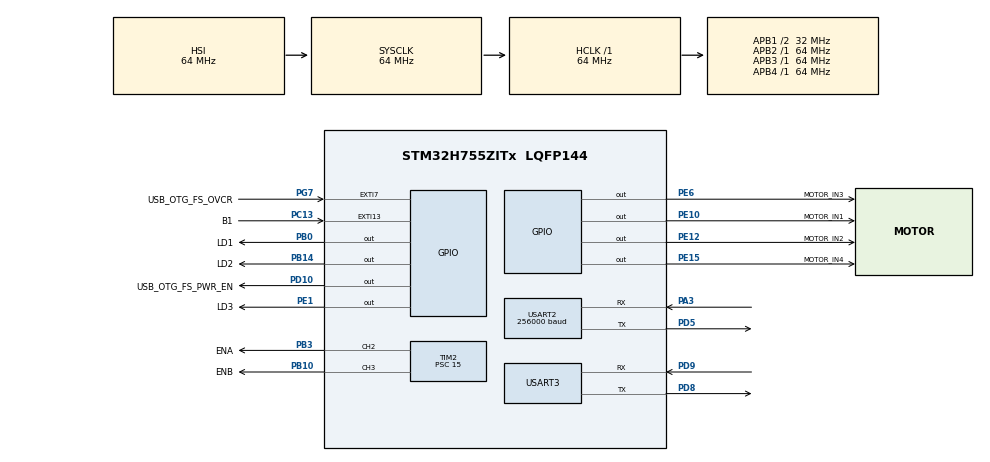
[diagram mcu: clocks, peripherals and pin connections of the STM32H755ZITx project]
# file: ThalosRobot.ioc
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CortexM4.IPs=FATFS_M4\:I,FREERTOS_M4\:I,IWDG2\:I,RCC,WWDG2\:I,DMA,BDMA,MDMA,NVIC2\:I,ETH,USART3,DEBUG,PDM2PCM_M4\:I,PWR,RESMGR_UTILITY,SYS_M4\:I,USB_DEVICE_M4\:I,USB_HOST_M4\:I,CORTEX_M4\:I,GPIO,OPENAMP_M4\:I,VREFBUF,NUCLEO-H755ZI-Q
CortexM7.IPs=FATFS_M7\:I,FREERTOS_M7\:I,IWDG1\:I,RCC\:I,WWDG1\:I,DMA\:I,BDMA\:I,MDMA\:I,NVIC1\:I,ETH\:I,USART3\:I,USB_OTG_FS\:I,USB_OTG_FS1\:I,SYS\:I,CORTEX_M7\:I,DEBUG\:I,PDM2PCM_M7\:I,PWR\:I,RESMGR_UTILITY\:I,USB_DEVICE_M7\:I,USB_HOST_M7\:I,GPIO\:I,OPENAMP_M7\:I,VREFBUF\:I,NUCLEO-H755ZI-Q\:I,TIM6\:I,TIM2\:I,USART2\:I
CortexM7.Pins=PE6,PC13,PB0,PE10,PE12,PE15,PB14,PE1
FREERTOS_M7.Mutexes01=telemetryMutex,Dynamic,NULL,Available
FREERTOS_M7.Queues01=trackingUARTQueue,100,uint8_t,0,Dynamic,NULL,NULL;trackingQueue,3,LDFrame_t,0,Dynamic,NULL,NULL
FREERTOS_M7.Tasks01=motionTask,24,128,StartMotionTask,Default,NULL,Dynamic,NULL,NULL;heartbeatTask,8,128,StartHeartbeathTask,Default,NULL,Dynamic,NULL,NULL;processTracking,25,128,StartProcessTrackingTask,Default,NULL,Dynamic,NULL,NULL;telemetryTask,8,512,StartTelemetryTask,Default,NULL,Dynamic,NULL,NULL
FREERTOS_M7.configUSE_NEWLIB_REENTRANT=1
Mcu.Family=STM32H7
Mcu.Name=STM32H755ZITx
Mcu.Package=LQFP144
NVIC1.EXTI15_10_IRQn=true\:5\:0\:true\:false\:true\:true\:true\:true\:true
NVIC1.PriorityGroup=NVIC_PRIORITYGROUP_4
NVIC1.TIM6_DAC_IRQn=true\:15\:0\:false\:false\:true\:false\:false\:true\:true
NVIC1.TimeBase=TIM6_DAC_IRQn
NVIC1.TimeBaseIP=TIM6
NVIC1.USART2_IRQn=true\:5\:0\:false\:false\:true\:true\:true\:true\:true
NVIC2.PriorityGroup=NVIC_PRIORITYGROUP_4
PA1.PinAttribute=CortexM7
PA1.Signal=ETH_REF_CLK
PA11.PinAttribute=CortexM7
PA11.Signal=USB_OTG_FS_DM
PA12.PinAttribute=CortexM7
PA12.Signal=USB_OTG_FS_DP
PA2.PinAttribute=CortexM7
PA2.Signal=ETH_MDIO
PA3.Mode=Asynchronous
PA3.PinAttribute=CortexM7
PA3.Signal=USART2_RX
PA7.PinAttribute=CortexM7
PA7.Signal=ETH_CRS_DV
PA8.PinAttribute=CortexM7
PA8.Signal=USB_OTG_FS_SOF
PA9.PinAttribute=CortexM7
PA9.Signal=USB_OTG_FS_VBUS
PB0.GPIO_Label=LD1
PB0.PinAttribute=CortexM7
PB0.Signal=GPIO_Output
PB10.GPIO_Label=ENB
PB10.PinAttribute=CortexM7
PB10.Signal=S_TIM2_CH3
PB13.PinAttribute=CortexM7
PB13.Signal=ETH_TXD1
PB14.GPIO_Label=LD2
PB14.PinAttribute=CortexM7
PB14.Signal=GPIO_Output
PB3\ (JTDO/TRACESWO).GPIO_Label=ENA
PB3\ (JTDO/TRACESWO).PinAttribute=CortexM7
PB3\ (JTDO/TRACESWO).Signal=S_TIM2_CH2
PC1.PinAttribute=CortexM7
PC1.Signal=ETH_MDC
PC13.GPIO_Label=B1
PC13.PinAttribute=CortexM7
PC13.Signal=GPXTI13
PC14-OSC32_IN\ (OSC32_IN).PinAttribute=Free
PC14-OSC32_IN\ (OSC32_IN).Signal=RCC_OSC32_IN
PC15-OSC32_OUT\ (OSC32_OUT).PinAttribute=Free
PC15-OSC32_OUT\ (OSC32_OUT).Signal=RCC_OSC32_OUT
PC4.PinAttribute=CortexM7
PC4.Signal=ETH_RXD0
PC5.PinAttribute=CortexM7
PC5.Signal=ETH_RXD1
PC6.Signal=S_TIM3_CH1
PD10.GPIO_Label=USB_OTG_FS_PWR_EN
PD10.PinAttribute=Free
PD10.Signal=GPIO_Output
PD5.Mode=Asynchronous
PD5.PinAttribute=CortexM7
PD5.Signal=USART2_TX
PD8.Mode=Asynchronous
PD8.PinAttribute=CortexM7
PD8.Signal=USART3_TX
PD9.Mode=Asynchronous
PD9.PinAttribute=CortexM7
PD9.Signal=USART3_RX
PE1.GPIO_Label=LD3
PE1.PinAttribute=CortexM7
PE1.Signal=GPIO_Output
PE10.GPIO_Label=MOTOR_IN1
PE10.PinAttribute=CortexM7
PE10.Signal=GPIO_Output
PE12.GPIO_Label=MOTOR_IN2
PE12.PinAttribute=CortexM7
PE12.Signal=GPIO_Output
PE15.GPIO_Label=MOTOR_IN4
PE15.PinAttribute=CortexM7
PE15.Signal=GPIO_Output
PE6.GPIO_Label=MOTOR_IN3
PE6.PinAttribute=CortexM7
PE6.Signal=GPIO_Output
PG11.PinAttribute=CortexM7
PG11.Signal=ETH_TX_EN
PG13.PinAttribute=CortexM7
PG13.Signal=ETH_TXD0
PG7.GPIO_Label=USB_OTG_FS_OVCR
PG7.PinAttribute=Free
PG7.Signal=GPXTI7
PH0-OSC_IN\ (PH0).PinAttribute=Free
PH0-OSC_IN\ (PH0).Signal=RCC_OSC_IN
PH1-OSC_OUT\ (PH1).PinAttribute=Free
PH1-OSC_OUT\ (PH1).Signal=RCC_OSC_OUT
ProjectManager.HeapSize=M4-0x200,M7-0x200
ProjectManager.StackSize=M4-0x400,M7-0x400
ProjectManager.TargetToolchain=STM32CubeIDE
RCC.ADCFreq_Value=129000000
RCC.APB1Freq_Value=32000000
RCC.APB2Freq_Value=64000000
RCC.APB3Freq_Value=64000000
RCC.APB4Freq_Value=64000000
RCC.CortexFreq_Value=64000000
RCC.D2PPRE1=RCC_APB1_DIV2
RCC.DIVM1=5
RCC.DIVN1=48
RCC.DIVQ1=5
RCC.HCLKFreq_Value=64000000
RCC.PLL2FRACN=0
RCC.PLL3FRACN=0
RCC.PLLFRACN=0
RCC.SYSCLKFreq_VALUE=64000000
RCC.SupplySource=PWR_DIRECT_SMPS_SUPPLY
RCC.USBFreq_Value=122880000
SH.S_TIM2_CH2.0=TIM2_CH2,PWM Generation2 CH2
SH.S_TIM2_CH3.0=TIM2_CH3,PWM Generation3 CH3
SH.S_TIM3_CH1.0=TIM3_CH1
TIM2.Channel-PWM\ Generation2\ CH2=TIM_CHANNEL_2
TIM2.Channel-PWM\ Generation3\ CH3=TIM_CHANNEL_3
TIM2.Period=999
TIM2.Prescaler=15
USART2.BaudRate=256000
USART2.VirtualMode-Asynchronous=VM_ASYNC
USART3.VirtualMode-Asynchronous=VM_ASYNC
VP_FREERTOS_M7_VS_CMSIS_V2.Mode=CMSIS_V2
VP_SYS_M4_VS_Systick.Mode=SysTick
VP_SYS_VS_tim6.Mode=TIM6
VP_TIM2_VS_ClockSourceINT.Mode=Internal
board=NUCLEO-H755ZI-Q

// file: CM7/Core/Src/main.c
/* USER CODE BEGIN Header */
/**
  ******************************************************************************
  * @file           : main.c
  * @brief          : Main program body
  ******************************************************************************
  * @attention
  *
  * Copyright (c) 2026 STMicroelectronics.
  * All rights reserved.
  *
  * This software is licensed under terms that can be found in the LICENSE file
  * in the root directory of this software component.
  * If no LICENSE file comes with this software, it is provided AS-IS.
  *
  ******************************************************************************
  */
/* USER CODE END Header */
#include "main.h"
#include "FreeRTOS.h"
#include "cmsis_os2.h"

/* USER CODE BEGIN Includes */

#include <stdint.h>
#include <stdio.h>
#include <string.h>

/* USER CODE END Includes */

/* USER CODE BEGIN PTD */

typedef enum { MOTORA, MOTORB } RobotMotors_t;
typedef enum { MOTOR_FORWARD, MOTOR_BACKWARD, MOTOR_BRAKE } MotorDirections_t;

typedef enum { LD_IDLE, LD_HEADER, LD_DATA, LD_TAIL } LDStates_t;
typedef struct {
  int16_t x;
  int16_t y;
  int16_t speed;
  uint16_t res;
} LDTarget_t;
typedef struct { LDTarget_t t[3]; } LDFrame_t;

/* USER CODE END PTD */

/* USER CODE BEGIN PD */

#define T_HEARTBEAT_MS      250U     // Cambio de estado del LED verde (Task Heartbeat)

/* DUAL_CORE_BOOT_SYNC_SEQUENCE: Define for dual core boot synchronization    */
/*                             demonstration code based on hardware semaphore */
/* This define is present in both CM7/CM4 projects                            */
/* To comment when developping/debugging on a single core                     */
// #define DUAL_CORE_BOOT_SYNC_SEQUENCE

#if defined(DUAL_CORE_BOOT_SYNC_SEQUENCE)
#ifndef HSEM_ID_0
#define HSEM_ID_0 (0U) /* HW semaphore 0*/
#endif
#endif /* DUAL_CORE_BOOT_SYNC_SEQUENCE */

/* USER CODE END PD */

TIM_HandleTypeDef htim2;

UART_HandleTypeDef huart2;
UART_HandleTypeDef huart3;

/* Definitions for motionTask */
osThreadId_t motionTaskHandle;
const osThreadAttr_t motionTask_attributes = {
  .name = "motionTask",
  .stack_size = 128 * 4,
  .priority = (osPriority_t) osPriorityNormal,
};
/* Definitions for heartbeatTask */
osThreadId_t heartbeatTaskHandle;
const osThreadAttr_t heartbeatTask_attributes = {
  .name = "heartbeatTask",
  .stack_size = 128 * 4,
  .priority = (osPriority_t) osPriorityLow,
};
/* Definitions for processTracking */
osThreadId_t processTrackingHandle;
const osThreadAttr_t processTracking_attributes = {
  .name = "processTracking",
  .stack_size = 128 * 4,
  .priority = (osPriority_t) osPriorityNormal1,
};
/* Definitions for telemetryTask */
osThreadId_t telemetryTaskHandle;
const osThreadAttr_t telemetryTask_attributes = {
  .name = "telemetryTask",
  .stack_size = 512 * 4,
  .priority = (osPriority_t) osPriorityLow,
};
/* Definitions for trackingUARTQueue */
osMessageQueueId_t trackingUARTQueueHandle;
const osMessageQueueAttr_t trackingUARTQueue_attributes = {
  .name = "trackingUARTQueue"
};
/* Definitions for trackingQueue */
osMessageQueueId_t trackingQueueHandle;
const osMessageQueueAttr_t trackingQueue_attributes = {
  .name = "trackingQueue"
};
/* Definitions for telemetryMutex */
osMutexId_t telemetryMutexHandle;
const osMutexAttr_t telemetryMutex_attributes = {
  .name = "telemetryMutex"
};
/* USER CODE BEGIN PV */

uint8_t UART2_rxBuffer;

/* USER CODE END PV */

void SystemClock_Config(void);
static void MX_GPIO_Init(void);
static void MX_USART3_UART_Init(void);
static void MX_TIM2_Init(void);
static void MX_USART2_UART_Init(void);
void StartMotionTask(void *argument);
void StartHeartbeathTask(void *argument);
void StartProcessTrackingTask(void *argument);
void StartTelemetryTask(void *argument);

/* USER CODE BEGIN PFP */

void set_motor_dir(RobotMotors_t motor, MotorDirections_t dir) {
	switch (dir) {
		case MOTOR_FORWARD:
			if(motor == MOTORA) {
	      HAL_GPIO_WritePin(MOTOR_IN1_GPIO_Port, MOTOR_IN1_Pin, GPIO_PIN_SET);
	      HAL_GPIO_WritePin(MOTOR_IN2_GPIO_Port, MOTOR_IN2_Pin, GPIO_PIN_RESET);
			} else if(motor == MOTORB) {
        HAL_GPIO_WritePin(MOTOR_IN3_GPIO_Port, MOTOR_IN3_Pin, GPIO_PIN_SET);
	      HAL_GPIO_WritePin(MOTOR_IN4_GPIO_Port, MOTOR_IN4_Pin, GPIO_PIN_RESET);
      }
			break;

		case MOTOR_BACKWARD:
    	if(motor == MOTORA) {
	      HAL_GPIO_WritePin(MOTOR_IN1_GPIO_Port, MOTOR_IN1_Pin, GPIO_PIN_RESET);
	      HAL_GPIO_WritePin(MOTOR_IN2_GPIO_Port, MOTOR_IN2_Pin, GPIO_PIN_SET);
			} else if(motor == MOTORB) {
        HAL_GPIO_WritePin(MOTOR_IN3_GPIO_Port, MOTOR_IN3_Pin, GPIO_PIN_RESET);
	      HAL_GPIO_WritePin(MOTOR_IN4_GPIO_Port, MOTOR_IN4_Pin, GPIO_PIN_SET);
      }
			break;
		case MOTOR_BRAKE:
			if(motor == MOTORA) {
	      HAL_GPIO_WritePin(MOTOR_IN1_GPIO_Port, MOTOR_IN1_Pin, GPIO_PIN_SET);
	      HAL_GPIO_WritePin(MOTOR_IN2_GPIO_Port, MOTOR_IN2_Pin, GPIO_PIN_SET);
			} else if(motor == MOTORB) {
        HAL_GPIO_WritePin(MOTOR_IN3_GPIO_Port, MOTOR_IN3_Pin, GPIO_PIN_SET);
	      HAL_GPIO_WritePin(MOTOR_IN4_GPIO_Port, MOTOR_IN4_Pin, GPIO_PIN_SET);
      }
			break;
		default:
			break;
	}
}

int16_t ld_decode(uint16_t raw) {
  int16_t mag = raw & 0x7FFF;
  return (raw & 0x8000) ? mag : -mag;
}

void UART_Print(const char *msg){
	osMutexAcquire(telemetryMutexHandle, osWaitForever);
	HAL_UART_Transmit(&huart3, (const uint8_t *)msg, (uint16_t)strlen(msg), 100);
	osMutexRelease(telemetryMutexHandle);
}

/* USER CODE END PFP */

int main(void)
{

/* USER CODE BEGIN Boot_Mode_Sequence_0 */
#if defined(DUAL_CORE_BOOT_SYNC_SEQUENCE)
  int32_t timeout;
#endif /* DUAL_CORE_BOOT_SYNC_SEQUENCE */
/* USER CODE END Boot_Mode_Sequence_0 */

/* USER CODE BEGIN Boot_Mode_Sequence_1 */
#if defined(DUAL_CORE_BOOT_SYNC_SEQUENCE)
  /* Wait until CPU2 boots and enters in stop mode or timeout*/
  timeout = 0xFFFF;
  while((__HAL_RCC_GET_FLAG(RCC_FLAG_D2CKRDY) != RESET) && (timeout-- > 0));
  if ( timeout < 0 )
  {
  Error_Handler();
  }
#endif /* DUAL_CORE_BOOT_SYNC_SEQUENCE */
/* USER CODE END Boot_Mode_Sequence_1 */
  /* MCU Configuration--------------------------------------------------------*/

  /* Reset of all peripherals, Initializes the Flash interface and the Systick. */
  HAL_Init();

  /* Configure the system clock */
  SystemClock_Config();
/* USER CODE BEGIN Boot_Mode_Sequence_2 */
#if defined(DUAL_CORE_BOOT_SYNC_SEQUENCE)
/* When system initialization is finished, Cortex-M7 will release Cortex-M4 by means of
HSEM notification */
/*HW semaphore Clock enable*/
__HAL_RCC_HSEM_CLK_ENABLE();
/*Take HSEM */
HAL_HSEM_FastTake(HSEM_ID_0);
/*Release HSEM in order to notify the CPU2(CM4)*/
HAL_HSEM_Release(HSEM_ID_0,0);
/* wait until CPU2 wakes up from stop mode */
timeout = 0xFFFF;
while((__HAL_RCC_GET_FLAG(RCC_FLAG_D2CKRDY) == RESET) && (timeout-- > 0));
if ( timeout < 0 )
{
Error_Handler();
}
#endif /* DUAL_CORE_BOOT_SYNC_SEQUENCE */
/* USER CODE END Boot_Mode_Sequence_2 */

  /* Initialize all configured peripherals */
  MX_GPIO_Init();
  MX_USART3_UART_Init();
  MX_TIM2_Init();
  MX_USART2_UART_Init();

  /* Init scheduler */
  osKernelInitialize();
  /* Create the mutex(es) */
  /* creation of telemetryMutex */
  telemetryMutexHandle = osMutexNew(&telemetryMutex_attributes);

  /* Create the queue(s) */
  /* creation of trackingUARTQueue */
  trackingUARTQueueHandle = osMessageQueueNew (100, sizeof(uint8_t), &trackingUARTQueue_attributes);

  /* creation of trackingQueue */
  trackingQueueHandle = osMessageQueueNew (3, sizeof(LDFrame_t), &trackingQueue_attributes);

  /* Create the thread(s) */
  /* creation of motionTask */
  motionTaskHandle = osThreadNew(StartMotionTask, NULL, &motionTask_attributes);

  /* creation of heartbeatTask */
  heartbeatTaskHandle = osThreadNew(StartHeartbeathTask, NULL, &heartbeatTask_attributes);

  /* creation of processTracking */
  processTrackingHandle = osThreadNew(StartProcessTrackingTask, NULL, &processTracking_attributes);

  /* creation of telemetryTask */
  telemetryTaskHandle = osThreadNew(StartTelemetryTask, NULL, &telemetryTask_attributes);

  /* Start scheduler */
  osKernelStart();

  /* We should never get here as control is now taken by the scheduler */

  /* Infinite loop */
  while (1)
  {

  }
}

void SystemClock_Config(void)
{
  RCC_OscInitTypeDef RCC_OscInitStruct = {0};
  RCC_ClkInitTypeDef RCC_ClkInitStruct = {0};

  /** Supply configuration update enable
  */
  HAL_PWREx_ConfigSupply(PWR_DIRECT_SMPS_SUPPLY);

  /** Configure the main internal regulator output voltage
  */
  __HAL_PWR_VOLTAGESCALING_CONFIG(PWR_REGULATOR_VOLTAGE_SCALE3);

  while(!__HAL_PWR_GET_FLAG(PWR_FLAG_VOSRDY)) {}

  /** Initializes the RCC Oscillators according to the specified parameters
  * in the RCC_OscInitTypeDef structure.
  */
  RCC_OscInitStruct.OscillatorType = RCC_OSCILLATORTYPE_HSI;
  RCC_OscInitStruct.HSIState = RCC_HSI_DIV1;
  RCC_OscInitStruct.HSICalibrationValue = RCC_HSICALIBRATION_DEFAULT;
  RCC_OscInitStruct.PLL.PLLState = RCC_PLL_NONE;
  if (HAL_RCC_OscConfig(&RCC_OscInitStruct) != HAL_OK)
  {
    Error_Handler();
  }

  /** Initializes the CPU, AHB and APB buses clocks
  */
  RCC_ClkInitStruct.ClockType = RCC_CLOCKTYPE_HCLK|RCC_CLOCKTYPE_SYSCLK
                              |RCC_CLOCKTYPE_PCLK1|RCC_CLOCKTYPE_PCLK2
                              |RCC_CLOCKTYPE_D3PCLK1|RCC_CLOCKTYPE_D1PCLK1;
  RCC_ClkInitStruct.SYSCLKSource = RCC_SYSCLKSOURCE_HSI;
  RCC_ClkInitStruct.SYSCLKDivider = RCC_SYSCLK_DIV1;
  RCC_ClkInitStruct.AHBCLKDivider = RCC_HCLK_DIV1;
  RCC_ClkInitStruct.APB3CLKDivider = RCC_APB3_DIV1;
  RCC_ClkInitStruct.APB1CLKDivider = RCC_APB1_DIV2;
  RCC_ClkInitStruct.APB2CLKDivider = RCC_APB2_DIV1;
  RCC_ClkInitStruct.APB4CLKDivider = RCC_APB4_DIV1;

  if (HAL_RCC_ClockConfig(&RCC_ClkInitStruct, FLASH_LATENCY_1) != HAL_OK)
  {
    Error_Handler();
  }
}

static void MX_TIM2_Init(void)
{

  TIM_ClockConfigTypeDef sClockSourceConfig = {0};
  TIM_MasterConfigTypeDef sMasterConfig = {0};
  TIM_OC_InitTypeDef sConfigOC = {0};

  htim2.Instance = TIM2;
  htim2.Init.Prescaler = 15;
  htim2.Init.CounterMode = TIM_COUNTERMODE_UP;
  htim2.Init.Period = 999;
  htim2.Init.ClockDivision = TIM_CLOCKDIVISION_DIV1;
  htim2.Init.AutoReloadPreload = TIM_AUTORELOAD_PRELOAD_DISABLE;
  if (HAL_TIM_Base_Init(&htim2) != HAL_OK)
  {
    Error_Handler();
  }
  sClockSourceConfig.ClockSource = TIM_CLOCKSOURCE_INTERNAL;
  if (HAL_TIM_ConfigClockSource(&htim2, &sClockSourceConfig) != HAL_OK)
  {
    Error_Handler();
  }
  if (HAL_TIM_PWM_Init(&htim2) != HAL_OK)
  {
    Error_Handler();
  }
  sMasterConfig.MasterOutputTrigger = TIM_TRGO_RESET;
  sMasterConfig.MasterSlaveMode = TIM_MASTERSLAVEMODE_DISABLE;
  if (HAL_TIMEx_MasterConfigSynchronization(&htim2, &sMasterConfig) != HAL_OK)
  {
    Error_Handler();
  }
  sConfigOC.OCMode = TIM_OCMODE_PWM1;
  sConfigOC.Pulse = 0;
  sConfigOC.OCPolarity = TIM_OCPOLARITY_HIGH;
  sConfigOC.OCFastMode = TIM_OCFAST_DISABLE;
  if (HAL_TIM_PWM_ConfigChannel(&htim2, &sConfigOC, TIM_CHANNEL_2) != HAL_OK)
  {
    Error_Handler();
  }
  if (HAL_TIM_PWM_ConfigChannel(&htim2, &sConfigOC, TIM_CHANNEL_3) != HAL_OK)
  {
    Error_Handler();
  }
  HAL_TIM_MspPostInit(&htim2);

}

static void MX_USART2_UART_Init(void)
{

  huart2.Instance = USART2;
  huart2.Init.BaudRate = 256000;
  huart2.Init.WordLength = UART_WORDLENGTH_8B;
  huart2.Init.StopBits = UART_STOPBITS_1;
  huart2.Init.Parity = UART_PARITY_NONE;
  huart2.Init.Mode = UART_MODE_TX_RX;
  huart2.Init.HwFlowCtl = UART_HWCONTROL_NONE;
  huart2.Init.OverSampling = UART_OVERSAMPLING_16;
  huart2.Init.OneBitSampling = UART_ONE_BIT_SAMPLE_DISABLE;
  huart2.Init.ClockPrescaler = UART_PRESCALER_DIV1;
  huart2.AdvancedInit.AdvFeatureInit = UART_ADVFEATURE_NO_INIT;
  if (HAL_UART_Init(&huart2) != HAL_OK)
  {
    Error_Handler();
  }
  if (HAL_UARTEx_SetTxFifoThreshold(&huart2, UART_TXFIFO_THRESHOLD_1_8) != HAL_OK)
  {
    Error_Handler();
  }
  if (HAL_UARTEx_SetRxFifoThreshold(&huart2, UART_RXFIFO_THRESHOLD_1_8) != HAL_OK)
  {
    Error_Handler();
  }
  if (HAL_UARTEx_DisableFifoMode(&huart2) != HAL_OK)
  {
    Error_Handler();
  }

}

static void MX_USART3_UART_Init(void)
{

  huart3.Instance = USART3;
  huart3.Init.BaudRate = 115200;
  huart3.Init.WordLength = UART_WORDLENGTH_8B;
  huart3.Init.StopBits = UART_STOPBITS_1;
  huart3.Init.Parity = UART_PARITY_NONE;
  huart3.Init.Mode = UART_MODE_TX_RX;
  huart3.Init.HwFlowCtl = UART_HWCONTROL_NONE;
  huart3.Init.OverSampling = UART_OVERSAMPLING_16;
  huart3.Init.OneBitSampling = UART_ONE_BIT_SAMPLE_DISABLE;
  huart3.Init.ClockPrescaler = UART_PRESCALER_DIV1;
  huart3.AdvancedInit.AdvFeatureInit = UART_ADVFEATURE_NO_INIT;
  if (HAL_UART_Init(&huart3) != HAL_OK)
  {
    Error_Handler();
  }
  if (HAL_UARTEx_SetTxFifoThreshold(&huart3, UART_TXFIFO_THRESHOLD_1_8) != HAL_OK)
  {
    Error_Handler();
  }
  if (HAL_UARTEx_SetRxFifoThreshold(&huart3, UART_RXFIFO_THRESHOLD_1_8) != HAL_OK)
  {
    Error_Handler();
  }
  if (HAL_UARTEx_DisableFifoMode(&huart3) != HAL_OK)
  {
    Error_Handler();
  }

}

static void MX_GPIO_Init(void)
{
  GPIO_InitTypeDef GPIO_InitStruct = {0};

  /* GPIO Ports Clock Enable */
  __HAL_RCC_GPIOE_CLK_ENABLE();
  __HAL_RCC_GPIOC_CLK_ENABLE();
  __HAL_RCC_GPIOA_CLK_ENABLE();
  __HAL_RCC_GPIOB_CLK_ENABLE();
  __HAL_RCC_GPIOD_CLK_ENABLE();
  __HAL_RCC_GPIOG_CLK_ENABLE();

  /*Configure GPIO pin Output Level */
  HAL_GPIO_WritePin(GPIOE, MOTOR_IN3_Pin|MOTOR_IN1_Pin|MOTOR_IN2_Pin|MOTOR_IN4_Pin
                          |LD3_Pin, GPIO_PIN_RESET);

  /*Configure GPIO pin Output Level */
  HAL_GPIO_WritePin(GPIOB, LD1_Pin|LD2_Pin, GPIO_PIN_RESET);

  /*Configure GPIO pins : MOTOR_IN3_Pin MOTOR_IN1_Pin MOTOR_IN2_Pin MOTOR_IN4_Pin
                           LD3_Pin */
  GPIO_InitStruct.Pin = MOTOR_IN3_Pin|MOTOR_IN1_Pin|MOTOR_IN2_Pin|MOTOR_IN4_Pin
                          |LD3_Pin;
  GPIO_InitStruct.Mode = GPIO_MODE_OUTPUT_PP;
  GPIO_InitStruct.Pull = GPIO_NOPULL;
  GPIO_InitStruct.Speed = GPIO_SPEED_FREQ_LOW;
  HAL_GPIO_Init(GPIOE, &GPIO_InitStruct);

  /*Configure GPIO pin : B1_Pin */
  GPIO_InitStruct.Pin = B1_Pin;
  GPIO_InitStruct.Mode = GPIO_MODE_IT_RISING;
  GPIO_InitStruct.Pull = GPIO_NOPULL;
  HAL_GPIO_Init(B1_GPIO_Port, &GPIO_InitStruct);

  /*Configure GPIO pins : PC1 PC4 PC5 */
  GPIO_InitStruct.Pin = GPIO_PIN_1|GPIO_PIN_4|GPIO_PIN_5;
  GPIO_InitStruct.Mode = GPIO_MODE_AF_PP;
  GPIO_InitStruct.Pull = GPIO_NOPULL;
  GPIO_InitStruct.Speed = GPIO_SPEED_FREQ_HIGH;
  GPIO_InitStruct.Alternate = GPIO_AF11_ETH;
  HAL_GPIO_Init(GPIOC, &GPIO_InitStruct);

  /*Configure GPIO pins : PA1 PA2 PA7 */
  GPIO_InitStruct.Pin = GPIO_PIN_1|GPIO_PIN_2|GPIO_PIN_7;
  GPIO_InitStruct.Mode = GPIO_MODE_AF_PP;
  GPIO_InitStruct.Pull = GPIO_NOPULL;
  GPIO_InitStruct.Speed = GPIO_SPEED_FREQ_HIGH;
  GPIO_InitStruct.Alternate = GPIO_AF11_ETH;
  HAL_GPIO_Init(GPIOA, &GPIO_InitStruct);

  /*Configure GPIO pins : LD1_Pin LD2_Pin */
  GPIO_InitStruct.Pin = LD1_Pin|LD2_Pin;
  GPIO_InitStruct.Mode = GPIO_MODE_OUTPUT_PP;
  GPIO_InitStruct.Pull = GPIO_NOPULL;
  GPIO_InitStruct.Speed = GPIO_SPEED_FREQ_LOW;
  HAL_GPIO_Init(GPIOB, &GPIO_InitStruct);

  /*Configure GPIO pin : PB13 */
  GPIO_InitStruct.Pin = GPIO_PIN_13;
  GPIO_InitStruct.Mode = GPIO_MODE_AF_PP;
  GPIO_InitStruct.Pull = GPIO_NOPULL;
  GPIO_InitStruct.Speed = GPIO_SPEED_FREQ_HIGH;
  GPIO_InitStruct.Alternate = GPIO_AF11_ETH;
  HAL_GPIO_Init(GPIOB, &GPIO_InitStruct);

  /*Configure GPIO pins : PA8 PA11 PA12 */
  GPIO_InitStruct.Pin = GPIO_PIN_8|GPIO_PIN_11|GPIO_PIN_12;
  GPIO_InitStruct.Mode = GPIO_MODE_AF_PP;
  GPIO_InitStruct.Pull = GPIO_NOPULL;
  GPIO_InitStruct.Speed = GPIO_SPEED_FREQ_LOW;
  GPIO_InitStruct.Alternate = GPIO_AF10_OTG1_FS;
  HAL_GPIO_Init(GPIOA, &GPIO_InitStruct);

  /*Configure GPIO pins : PG11 PG13 */
  GPIO_InitStruct.Pin = GPIO_PIN_11|GPIO_PIN_13;
  GPIO_InitStruct.Mode = GPIO_MODE_AF_PP;
  GPIO_InitStruct.Pull = GPIO_NOPULL;
  GPIO_InitStruct.Speed = GPIO_SPEED_FREQ_HIGH;
  GPIO_InitStruct.Alternate = GPIO_AF11_ETH;
  HAL_GPIO_Init(GPIOG, &GPIO_InitStruct);

  /* EXTI interrupt init*/
  HAL_NVIC_SetPriority(B1_EXTI_IRQn, 5, 0);
  HAL_NVIC_EnableIRQ(B1_EXTI_IRQn);

}

/* USER CODE BEGIN 4 */

void HAL_UART_RxCpltCallback(UART_HandleTypeDef *huart) {
	if(huart->Instance == USART2) {
    osMessageQueuePut(trackingUARTQueueHandle, &UART2_rxBuffer, 0, 0);
		HAL_UART_Receive_IT(&huart2, &UART2_rxBuffer, 1);
	}
}

void HAL_UART_ErrorCallback(UART_HandleTypeDef *huart) {
  if (huart->Instance == USART2) {
    __HAL_UART_CLEAR_OREFLAG(huart);
    HAL_UART_Receive_IT(huart, &UART2_rxBuffer, 1);
  }
}

/* USER CODE END 4 */

void StartMotionTask(void *argument)
{
  /* USER CODE BEGIN 5 */
	HAL_TIM_PWM_Start(&htim2, TIM_CHANNEL_2);
	HAL_TIM_PWM_Start(&htim2, TIM_CHANNEL_3);

    set_motor_dir(MOTORA, MOTOR_FORWARD);
    set_motor_dir(MOTORB, MOTOR_BACKWARD);

  /* Infinite loop */
  for(;;)
  {

	  for(int ccr = 0; ccr < 990; ccr += 5) {
		  __HAL_TIM_SET_COMPARE(&htim2, TIM_CHANNEL_2, ccr);
		  __HAL_TIM_SET_COMPARE(&htim2, TIM_CHANNEL_3, ccr);
		  osDelay(100);
	  }

	  __HAL_TIM_SET_COMPARE(&htim2, TIM_CHANNEL_2, 0);
	  __HAL_TIM_SET_COMPARE(&htim2, TIM_CHANNEL_3, 0);
  }
  /* USER CODE END 5 */
}

void StartHeartbeathTask(void *argument)
{
  /* USER CODE BEGIN StartHeartbeathTask */
  /* Infinite loop */
  for(;;)
  {
	  HAL_GPIO_TogglePin(LD1_GPIO_Port, LD1_Pin);
	  osDelay(T_HEARTBEAT_MS);
    UART_Print("Heartbeat!!\r\n");
  }
  /* USER CODE END StartHeartbeathTask */
}

void StartProcessTrackingTask(void *argument)
{
  HAL_UART_Receive_IT(&huart2, &UART2_rxBuffer, 1);
  /* USER CODE BEGIN StartProcessTrackingTask */
  /* Infinite loop */
  LDStates_t state = LD_IDLE;
  uint8_t byteCounter = 0;

  uint8_t frame_data[24] = {};

  LDFrame_t targets;

  for(;;)
  {
    uint8_t value;
    osMessageQueueGet(trackingUARTQueueHandle, &value, NULL, osWaitForever);

    // Verify the data frame

    switch (state) {
      case LD_IDLE:
        if(byteCounter == 0 && value == 0xAA) byteCounter++;
        else if (byteCounter == 1 && value == 0xFF) byteCounter++;
        else if (byteCounter == 2 && value == 0x03) byteCounter++;
        else if (byteCounter == 3 && value == 0x00) {
          state = LD_DATA;
          byteCounter = 0;
        }
        else if(value == 0xAA) byteCounter = 1;
        else byteCounter = 0;

        break;

      case LD_DATA:
        frame_data[byteCounter++] = value;
        if (byteCounter == 24) {
          byteCounter = 0;
          state = LD_TAIL;
        }

        break;

      case LD_TAIL:
        if(byteCounter == 0 && value == 0x55) byteCounter++;
        else if(byteCounter == 1 && value == 0xCC) {
          // Frame complete
          for (uint8_t i = 0; i < 3; i++) {
            uint8_t *p = &frame_data[i * 8];
            targets.t[i].x = ld_decode(p[1] << 8 | p[0]);
            targets.t[i].y = ld_decode(p[3] << 8 | p[2]);
            targets.t[i].speed = ld_decode(p[5] << 8 | p[4]);
            targets.t[i].res =  p[7] << 8 | p[6];
          }

        if (osMessageQueuePut(trackingQueueHandle, &targets, 0, 0) == osErrorResource) {
          LDFrame_t old;
          osMessageQueueGet(trackingQueueHandle, &old, NULL, 0);
          osMessageQueuePut(trackingQueueHandle, &targets, 0, 0);
        }

          state = LD_IDLE;
          byteCounter = 0;
        } else {
          state = LD_IDLE;
          byteCounter = 0;
        }

        break;

      default:
        break;
    }

  }
  /* USER CODE END StartProcessTrackingTask */
}

void StartTelemetryTask(void *argument)
{
  /* USER CODE BEGIN StartTelemetryTask */
  /* Infinite loop */

  LDFrame_t f;
  char line[160];
  for(;;)
  {
    osStatus_t status = osMessageQueueGet(trackingQueueHandle, &f, NULL, 500);
    if (status == osOK) {
      size_t n = 0;

      for (int i = 0; i < 3; i++) {
        const LDTarget_t *t = &f.t[i];

        // Sin blanco
        if (t->x == 0 && t->y == 0 && t->speed == 0 && t->res == 0) continue;

        n += snprintf(line + n, sizeof(line) - n,
                      "T%d x=%d y=%d v=%d res=%u | ",
                      i + 1, t->x, t->y, t->speed, (unsigned)t->res);
        if (n >= sizeof(line) - 3) break;
      }

      if (n == 0) {
        snprintf(line, sizeof(line), "sin blancos\r\n");
      } else {
        n -= 3;                        // quita el último " | "
        snprintf(line + n, sizeof(line) - n, "\r\n");
      }
      UART_Print(line);
    } else if (status == osErrorTimeout) {
      UART_Print("radar sin datos\r\n");
    }
  }
  /* USER CODE END StartTelemetryTask */
}

void HAL_TIM_PeriodElapsedCallback(TIM_HandleTypeDef *htim)
{
  if (htim->Instance == TIM6)
  {
    HAL_IncTick();
  }
}

void Error_Handler(void)
{
  __disable_irq();
  while (1)
  {
  }
}
